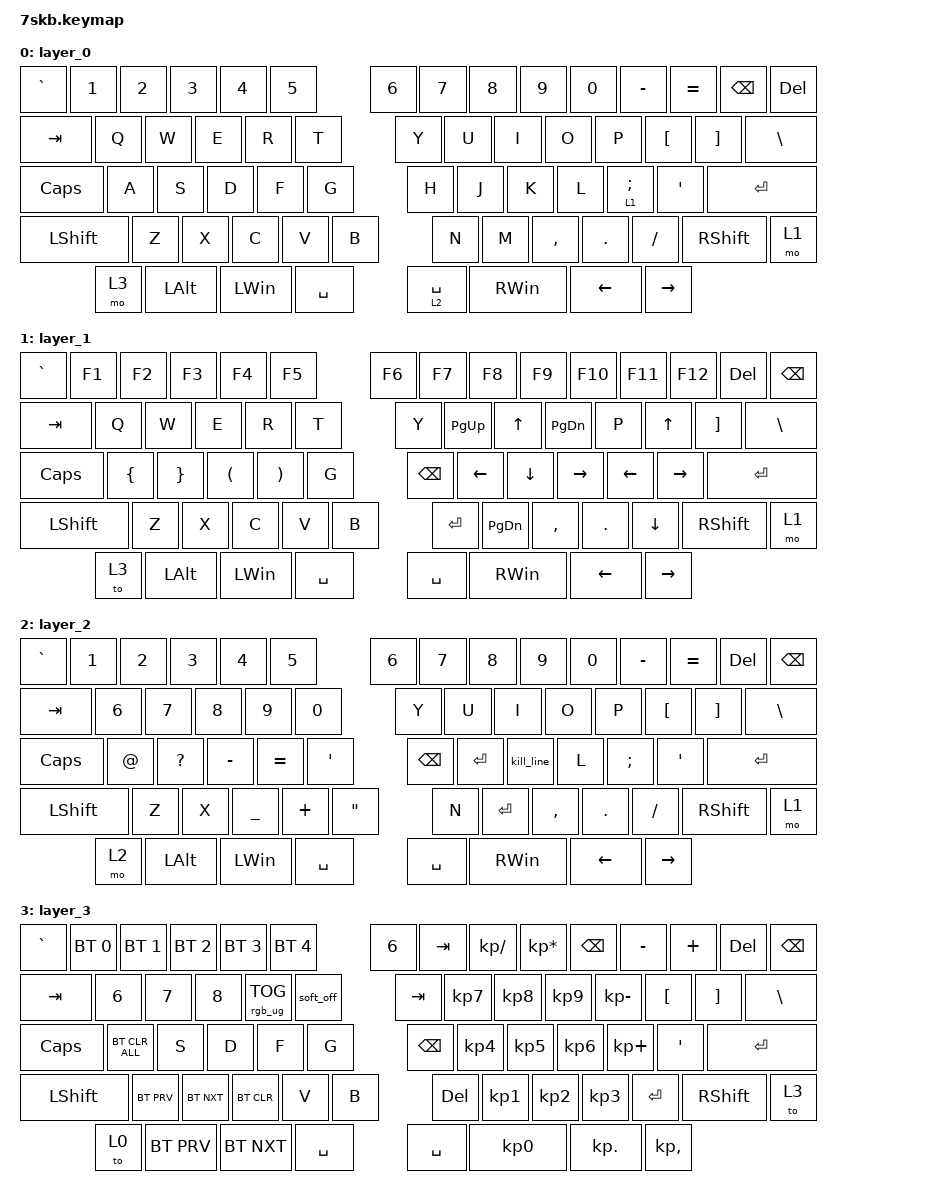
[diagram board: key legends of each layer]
#include <behaviors.dtsi>
#include <dt-bindings/zmk/keys.h>
#include <dt-bindings/zmk/bt.h>
#include <dt-bindings/zmk/rgb.h>

/ {
    keymap {
        compatible = "zmk,keymap";

        layer_0 {
// ------------------------------------------------------------------------------------------------------------
// |   `   |  1  |  2  |  3   |  4   |  5   |                   |  6   |  7    |  8    |  9   |   0   |       |
// |  ESC  |  Q  |  W  |  E   |  R   |  T   |                   |  Y   |  U    |  I    |  O   |   P   | BKSPC |
// |  TAB  |  A  |  S  |  D   |  F   |  G   |                   |  H   |  J    |  K    |  L   |   ;   |   '   |
// | SHIFT |  Z  |  X  |  C   |  V   |  B   |  MUTE  |  |       |  N   |  M    |  ,    |  .   |   /   | SHIFT |
//               | GUI | ALT  | CTRL | LOWER|  ENTER |  | SPACE | RAISE| CTRL  | ALT   | GUI  |
            bindings = <
&kp GRAVE &kp N1 &kp N2   &kp N3   &kp N4    &kp N5           &kp N6 &kp N7    &kp N8    &kp N9   &kp N0  &kp MINUS &kp EQUAL   &kp BSPC &kp DEL
&kp TAB   &kp Q  &kp W    &kp E    &kp R     &kp T            &kp Y  &kp U     &kp I     &kp O    &kp P    &kp LBKT  &kp RBKT  &kp BSLH
&kp CAPS &kp A  &kp S    &kp D    &kp F     &kp G            &kp H  &kp J     &kp K     &kp L    &lt 1 SEMI &kp SQT   &kp RET
&kp LSHFT &kp Z  &kp X    &kp C    &kp V     &kp B            &kp N  &kp M     &kp COMMA &kp DOT  &kp FSLH &kp RSHFT &mo 1
                 &mo 3    &kp LALT &kp LWIN  &kp SPACE        &lt 2 SPACE  &kp RWIN &kp LEFT  &kp RIGHT
            >;
        };

        layer_1 {
            bindings = <
&kp GRAVE &kp F1 &kp F2   &kp F3   &kp F4    &kp F5           &kp F6 &kp F7    &kp F8    &kp F9   &kp F10  &kp F11 &kp F12   &kp DEL  &kp BSPC
&kp TAB   &kp Q  &kp W    &kp E    &kp R     &kp T            &kp Y  &kp PG_UP &kp UP    &kp PG_DN    &kp P    &kp UP  &kp RBKT  &kp BSLH
&kp CAPS &kp LBRC  &kp RBRC &kp LPAR &kp RPAR &kp G           &kp BSPC &kp LEFT  &kp DOWN  &kp RIGHT    &kp LEFT &kp RIGHT   &kp RET
&kp LSHFT &kp Z  &kp X    &kp C    &kp V     &kp B            &kp RET  &kp PG_DN &kp COMMA &kp DOT  &kp DOWN &kp RSHFT &mo 1
                 &to 3    &kp LALT &kp LWIN  &kp SPACE        &kp SPACE  &kp RWIN &kp LEFT  &kp RIGHT
            >;
        };

        layer_2 {
            bindings = <
&kp GRAVE &kp N1 &kp N2   &kp N3   &kp N4    &kp N5           &kp N6 &kp N7    &kp N8    &kp N9   &kp N0  &kp MINUS &kp EQUAL   &kp DEL  &kp BSPC
&kp TAB   &kp N6 &kp N7   &kp N8   &kp N9    &kp N0           &kp Y  &kp U     &kp I     &kp O    &kp P    &kp LBKT  &kp RBKT  &kp BSLH
&kp CAPS &kp AT &kp QMARK &kp MINUS &kp EQUAL &kp SQT        &kp BSPC &kp RET &kill_line &kp L    &kp SEMI &kp SQT   &kp RET
&kp LSHFT &kp Z  &kp X    &kp UNDER    &kp PLUS     &kp DQT   &kp N  &kp RET     &kp COMMA &kp DOT  &kp FSLH &kp RSHFT &mo 1
                 &mo 2    &kp LALT &kp LWIN  &kp SPACE        &kp SPACE  &kp RWIN &kp LEFT  &kp RIGHT
            >;
        };

        layer_3 {
            bindings = <
&kp GRAVE &bt BT_SEL 0   &bt BT_SEL 1  &bt BT_SEL 2 &bt BT_SEL 3    &bt BT_SEL 4        &kp N6    &kp TAB      &kp KP_SLASH &kp KP_ASTERISK &kp BSPC      &kp MINUS &kp PLUS   &kp DEL  &kp BSPC
&kp TAB   &kp N6         &kp N7        &kp N8       &rgb_ug RGB_TOG &soft_off           &kp TAB   &kp KP_N7    &kp KP_N8    &kp KP_N9       &kp KP_MINUS  &kp LBKT  &kp RBKT  &kp BSLH
&kp CAPS  &bt BT_CLR_ALL &kp S         &kp D        &kp F           &kp G               &kp BSPC  &kp KP_N4    &kp KP_N5    &kp KP_N6       &kp KP_PLUS   &kp SQT   &kp RET 
&kp LSHFT &bt BT_PRV     &bt BT_NXT    &bt BT_CLR   &kp V           &kp B               &kp DEL   &kp KP_N1    &kp KP_N2    &kp KP_N3       &kp RET       &kp RSHFT &to 3
          &to 0   &bt BT_PRV    &bt BT_NXT   &kp SPACE                                  &kp SPACE &kp KP_N0    &kp KP_DOT   &kp KP_COMMA
            >;
        };
    };

    macros {
        // カーソルから行末までを削除するマクロ
        kill_line: kill_line {
            compatible = "zmk,behavior-macro";
            #binding-cells = <0>;
            bindings
                // 行末までを選択 (Shift + End)
                = <&macro_press &kp LSHFT>
                , <&macro_tap &kp END>
                , <&macro_release &kp LSHFT>
                // カットを実行 (Cmd + X)
                , <&macro_press &kp LGUI>
                , <&macro_tap &kp X>
                , <&macro_release &kp LGUI>;
        };
    };
};
